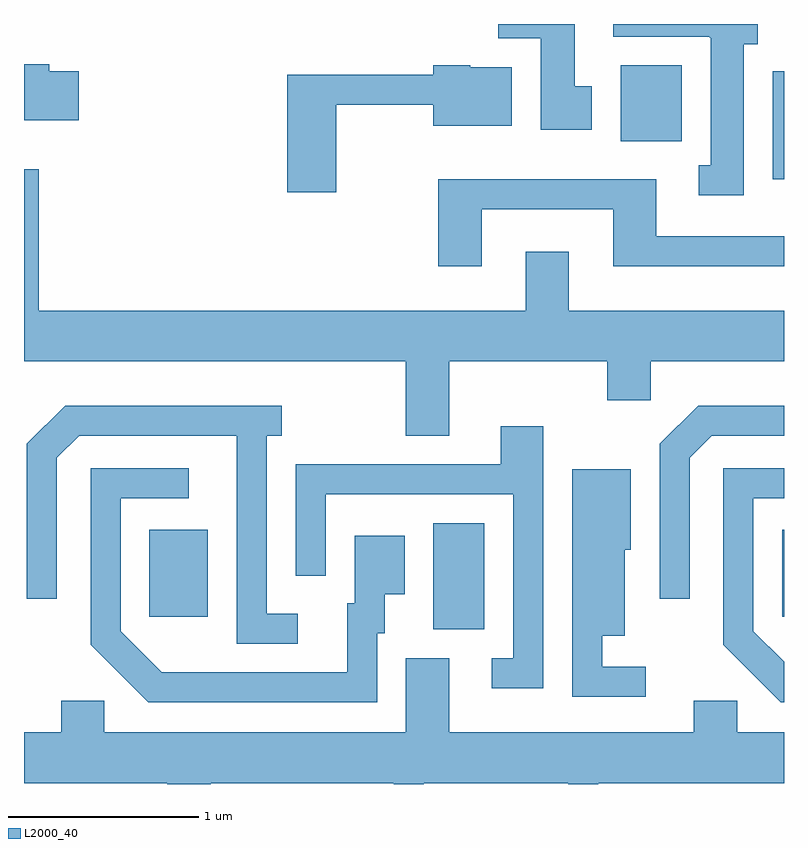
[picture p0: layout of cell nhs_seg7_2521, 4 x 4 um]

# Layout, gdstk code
import gdstk
lib = gdstk.Library(unit=1e-6, precision=1e-09)
def R(c, l, rs):  # rectangles x0, y0, x1, y1
    for r in rs: c.add(gdstk.rectangle(r[:2], r[2:], *l))
def P(c, l, *ps):  # polygons
    for p in ps: c.add(gdstk.Polygon(p, *l))
L2000_40 = (2000, 40)

nhs_seg7_2521 = lib.new_cell('nhs_seg7_2521')
R(nhs_seg7_2521, L2000_40, [(263.766,1775.066,264.034,1775.624), (262.271,1775.131,262.579,1775.589), (265.601,1775.131,265.611,1775.589), (265.551,1777.436,265.611,1778.004), (264.751,1777.636,265.074,1778.034)])
P(nhs_seg7_2521, L2000_40, [(264.599,1777.924),(264.509,1777.924),(264.509,1778.252),(264.106,1778.252),(264.106,1778.176),(264.331,1778.176),(264.331,1777.696),(264.599,1777.696)],
  [(265.399,1778.146),(265.474,1778.146),(265.474,1778.252),(264.711,1778.252),(264.711,1778.186),(265.22,1778.186),(265.22,1778.18),(265.226,1778.18),(265.226,1777.509),(265.163,1777.509),(265.163,1777.351),(265.399,1777.351)],
  [(261.899,1778.004),(261.744,1778.004),(261.744,1778.039),(261.611,1778.039),(261.611,1777.746),(261.899,1777.746)],
  [(263.254,1777.826),(263.766,1777.826),(263.766,1777.716),(264.179,1777.716),(264.179,1778.024),(263.96,1778.024),(263.96,1778.034),(263.766,1778.034),(263.766,1777.984),(262.996,1777.984),(262.996,1777.366),(263.254,1777.366)],
  [(263.849,1776.476),(264.681,1776.476),(264.681,1776.271),(264.909,1776.271),(264.909,1776.476),(265.611,1776.476),(265.611,1776.744),(264.479,1776.744),(264.479,1777.054),(264.251,1777.054),(264.251,1776.744),(261.689,1776.744),(261.689,1777.488),(261.611,1777.488),(261.611,1776.476),(263.621,1776.476),(263.621,1776.086),(263.849,1776.086)],
  [(264.019,1777.276),(264.711,1777.276),(264.711,1776.976),(265.611,1776.976),(265.611,1777.134),(264.939,1777.134),(264.939,1777.434),(263.791,1777.434),(263.791,1776.976),(264.019,1776.976)],
  [(265.114,1775.969),(265.232,1776.086),(265.611,1776.086),(265.611,1776.244),(265.159,1776.244),(264.956,1776.042),(264.956,1775.228),(265.114,1775.228)],
  [(263.053,1775.149),(262.889,1775.149),(262.889,1776.086),(262.968,1776.086),(262.968,1776.244),(261.829,1776.244),(261.626,1776.042),(261.626,1775.228),(261.784,1775.228),(261.784,1775.969),(261.902,1776.086),(262.731,1776.086),(262.731,1774.991),(263.053,1774.991)],
  [(264.344,1776.134),(264.121,1776.134),(264.121,1775.934),(263.041,1775.934),(263.041,1775.348),(263.199,1775.348),(263.199,1775.776),(264.186,1775.776),(264.186,1774.914),(264.073,1774.914),(264.073,1774.756),(264.344,1774.756)],
  [(265.611,1774.895),(265.449,1775.057),(265.449,1775.756),(265.611,1775.756),(265.611,1775.914),(265.291,1775.914),(265.291,1774.984),(265.594,1774.681),(265.611,1774.681)],
  [(263.469,1775.046),(263.509,1775.046),(263.509,1775.251),(263.614,1775.251),(263.614,1775.559),(263.351,1775.559),(263.351,1775.204),(263.311,1775.204),(263.311,1774.839),(262.337,1774.839),(262.119,1775.057),(262.119,1775.756),(262.478,1775.756),(262.478,1775.914),(261.961,1775.914),(261.961,1774.984),(262.264,1774.681),(263.469,1774.681)],
  [(264.883,1774.869),(264.654,1774.869),(264.654,1775.031),(264.774,1775.031),(264.774,1775.486),(264.804,1775.486),(264.804,1775.909),(264.496,1775.909),(264.496,1774.711),(264.883,1774.711)],
  [(262.594,1774.256),(263.556,1774.256),(263.556,1774.252),(263.714,1774.252),(263.714,1774.256),(264.476,1774.256),(264.476,1774.252),(264.634,1774.252),(264.634,1774.256),(265.611,1774.256),(265.611,1774.524),(265.364,1774.524),(265.364,1774.689),(265.136,1774.689),(265.136,1774.524),(263.849,1774.524),(263.849,1774.914),(263.621,1774.914),(263.621,1774.524),(262.034,1774.524),(262.034,1774.689),(261.806,1774.689),(261.806,1774.524),(261.611,1774.524),(261.611,1774.256),(262.366,1774.256),(262.366,1774.252),(262.594,1774.252)])

lib.write_gds('nhs_seg7_2521.gds')
